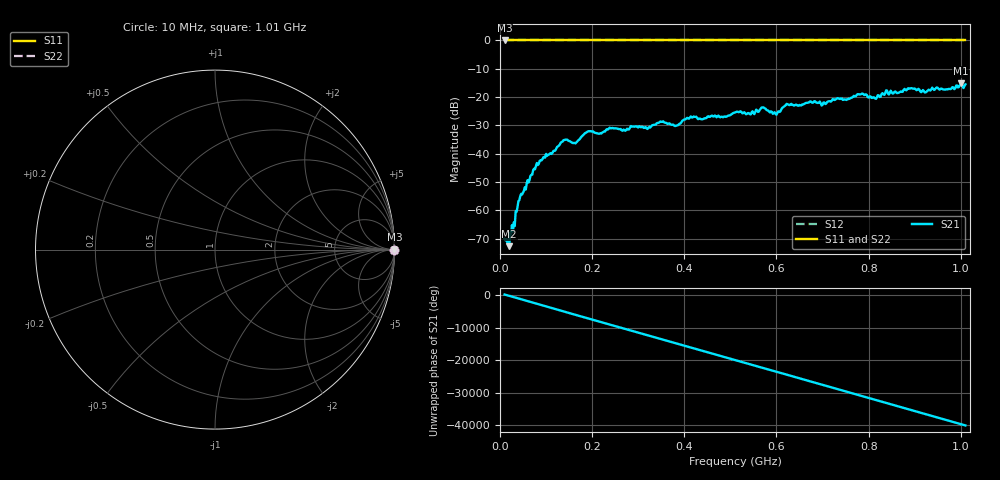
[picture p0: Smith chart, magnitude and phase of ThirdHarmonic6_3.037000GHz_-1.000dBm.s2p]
! 8/17/2025 8:47:09 AM
! C:\ANRITSUVNA\TEMP\TEMP.S2P
! CHANNEL.1
! TR.MEASUREMENT
! RAW.DATA
! RF.CORRECTION.OFF
! AVERAGING.OFF
! IF.BANDWIDTH: 5KHZ
! SWEEPTYPE:  FREQ.SWEEP(Linear)
! Reference Plane Port Info
! PORT:  PORT1  PORT2
! DISTANCE:  0  m  0  m
! TIME:  0  s  0  s
! PHASE.OFFSET:  0  deg.  0  deg.
! LOSS:  0  dB  0  dB
! REF.LOSS:  0  dB  0  dB
! REF.FREQ:  0  Hz  0  Hz
! Power Info
! POWER:  -20  dBm  -20  dBm
! EFF.POWER:  -20  dBm  -20  dBm
! SOURCE.ATTEN:  0  dB  0  dB
! TEST.ATTEN:  0  dB  0  dB
# GHZ S RI R 50.0
! FREQ.GHZ  S11RE  S11IM  S21RE  S21IM  S12RE  S12IM  S22RE  S22IM
!; PortSelection: Port_12
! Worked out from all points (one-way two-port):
!   501 points, 10 MHz to 1.01 GHz, reference 50 ohm
!   highest |S21| = -15.18 dB at 1 GHz (marker M1); lowest = -72.6 dB at 20 MHz (marker M2)
!   lowest |S11| = 0.0 dB at 10 MHz (marker M3)
!   |S11| at or under -10 dB: nowhere
!   |S22| runs from 0.0 to 0.0 dB; largest |S21 - S12| = 1.2
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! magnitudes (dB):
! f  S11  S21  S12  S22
! 10 MHz  0.0  -70.1  0.0  0.0
! 20 MHz  0.0  -72.6  0.0  0.0
! 42 MHz  0.0  -56.3  0.0  0.0
! 76 MHz  0.0  -45.5  0.0  0.0
! 136 MHz  0.0  -35.7  0.0  0.0
! 162 MHz  0.0  -36.2  0.0  0.0
! 178 MHz  0.0  -33.8  0.0  0.0
! 192 MHz  0.0  -32.1  0.0  0.0
! 344 MHz  0.0  -29.1  0.0  0.0
! 382 MHz  0.0  -30.1  0.0  0.0
! 416 MHz  0.0  -27.2  0.0  0.0
! 510 MHz  0.0  -25.4  0.0  0.0
! 572 MHz  0.0  -23.7  0.0  0.0
! 596 MHz  0.0  -25.4  0.0  0.0
! 622 MHz  0.0  -22.4  0.0  0.0
! 678 MHz  0.0  -22.0  0.0  0.0
! 702 MHz  0.0  -21.9  0.0  0.0
! 784 MHz  0.0  -18.9  0.0  0.0
! 814 MHz  0.0  -20.5  0.0  0.0
! 844 MHz  0.0  -19.1  0.0  0.0
! 1 GHz  0.0  -15.2  0.0  0.0
! 1.01 GHz  0.0  -15.5  0.0  0.0
